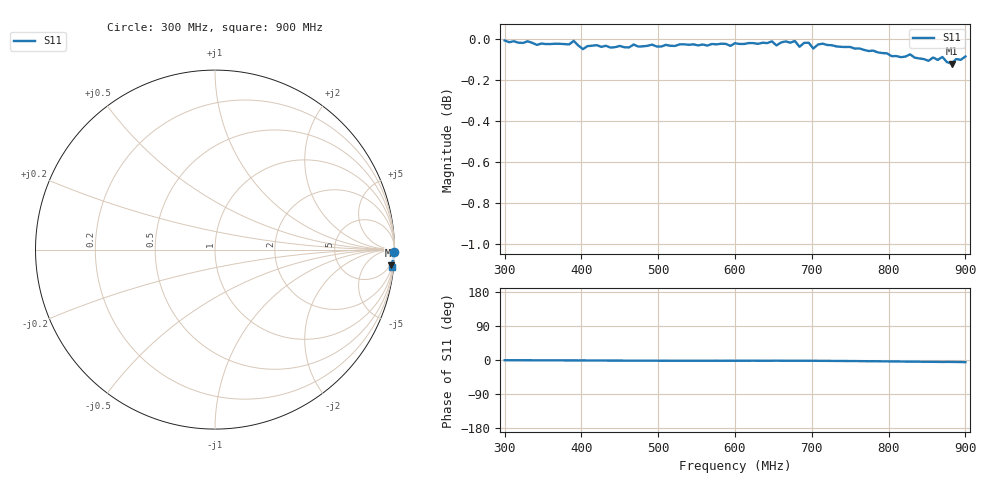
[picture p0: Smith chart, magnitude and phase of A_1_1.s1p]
# HZ S RI R 50
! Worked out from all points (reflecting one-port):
!   101 points, 300 MHz to 900 MHz, reference 50 ohm
!   lowest |S11| = -0.1 dB at 882 MHz (marker M1), VSWR 142.93, Z = 172 - j1.09e+03 ohm
!   phase of S11 starts at -1 deg and turns -5 deg over the sweep
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3e8  0.9989 -0.0111
3.78e8  0.9968 -0.018
3.9e8  0.9986 -0.0186
3.96e8  0.9959 -0.0204
4.02e8  0.994 -0.0177
4.08e8  0.9956 -0.0218
4.5e8  0.9955 -0.0278
5.28e8  0.9962 -0.034
6e8  0.9969 -0.0332
6.48e8  0.9979 -0.0339
6.54e8  0.9957 -0.0321
6.78e8  0.998 -0.0354
6.84e8  0.9948 -0.0349
6.96e8  0.997 -0.0369
7.02e8  0.9938 -0.0361
7.14e8  0.9964 -0.0397
7.5e8  0.9942 -0.0474
7.74e8  0.9915 -0.0555
7.8e8  0.9918 -0.0548
7.86e8  0.9906 -0.0592
8.16e8  0.9872 -0.0703
8.28e8  0.9885 -0.0741
8.52e8  0.9843 -0.0815
8.7e8  0.9857 -0.0897
8.76e8  0.9831 -0.0862
8.82e8  0.9822 -0.0878
8.94e8  0.9838 -0.0935
9e8  0.9851 -0.0991
